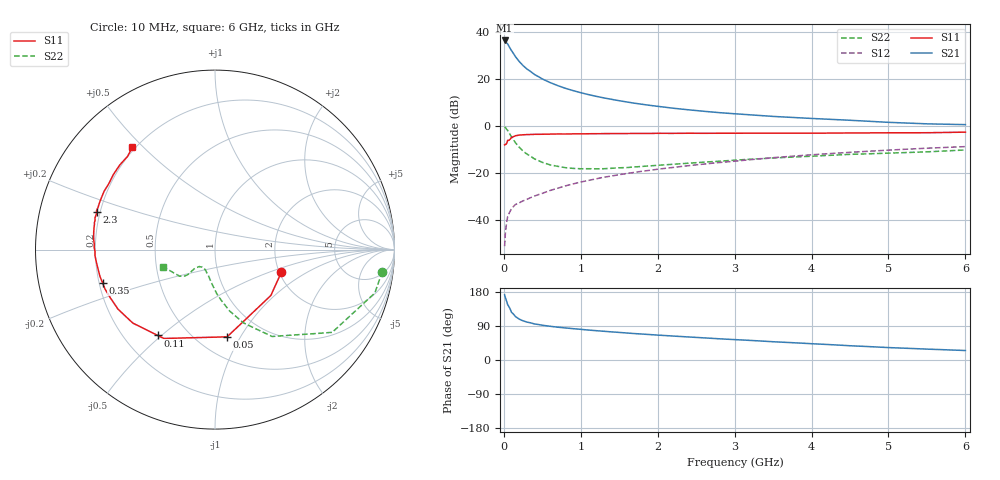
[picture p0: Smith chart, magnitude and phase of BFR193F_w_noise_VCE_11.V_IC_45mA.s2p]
! Infineon Technologies  Discrete & RF Semiconductors
! BFR193F
! VCE =  11. V,  IC =  45 mA
! Common Emitter S-Parameters:  Jan 2017
# GHz  S  MA  R  50
!  f  S11  S21  S12  S22
! GHz  MAG  ANG  MAG  ANG  MAG  ANG  MAG  ANG
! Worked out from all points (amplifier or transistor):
!   77 points, 10 MHz to 6 GHz, reference 50 ohm
!   highest |S21| = 36.4 dB at 10 MHz (marker M1)
!   |S21| within 3 dB of that: start of sweep to 75.79 MHz
!   unconditionally stable (mu >= 1): 971.4 MHz to 2.637 GHz
!   at 130 MHz: K = 0.42, MSG = 32.5 dB, |S12| = -34.3 dB
!   at 2.2 GHz: K = 1.02, MAG = 11.8 dB, |S12| = -17.8 dB
!   at 6 GHz: K = 0.84, MSG = 4.7 dB, |S12| = -8.9 dB
!   lowest NFmin = 1.41 dB at 450 MHz
!   S11 on the Smith chart (normalised r, x): 10 MHz: 2.05, -0.61; 50 MHz: 0.69, -0.88; 110 MHz: 0.34, -0.49; 350 MHz: 0.21, -0.14; 2.3 GHz: 0.19, +0.15; 6 GHz: 0.19, +0.46
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0.01  0.3906 -19.0  66.35 171.9  0.0027 71.1  0.9401 -7.5
0.02  0.4027 -39.4  64.38 164.4  0.0051 75.9  0.9228 -15.2
0.05  0.4907 -82.1  55.62 145.8  0.0116 63.7  0.7995 -35.2
0.1  0.5712 -119.9  40.24 125.7  0.017 52.5  0.5793 -56.7
0.11  0.5749 -123.7  38.11 124.0  0.0178 52.0  0.5491 -58.6
0.15  0.6143 -138.2  30.05 114.8  0.0209 50.3  0.4367 -68.9
0.2  0.6342 -148.5  23.62 107.9  0.0227 51.1  0.3507 -76.7
0.25  0.6428 -155.7  19.28 103.3  0.025 52.4  0.2874 -82.6
0.3  0.6508 -160.2  16.33 100.1  0.027 53.4  0.2496 -87.3
0.35  0.6533 -163.6  14.35 97.9  0.0294 56.0  0.2225 -90.4
0.4  0.6581 -166.9  12.4 95.1  0.0318 58.2  0.1963 -94.3
0.5  0.661 -171.1  10.01 91.8  0.0362 61.1  0.1662 -100.0
0.6  0.6652 -174.3  8.398 89.0  0.0416 63.4  0.147 -105.0
0.8  0.6688 -179.1  6.321 84.6  0.0522 67.4  0.1279 -113.9
1.1  0.6772 175.8  4.638 79.0  0.0683 70.1  0.1215 -123.1
1.5  0.684 170.5  3.435 72.8  0.0905 72.1  0.1271 -131.2
2.1  0.6907 164.3  2.49 64.5  0.1239 72.7  0.1473 -136.4
2.3  0.6922 162.5  2.285 62.0  0.1352 72.5  0.1551 -136.9
3.1  0.6954 155.9  1.763 52.8  0.1824 71.6  0.189 -136.9
4.1  0.6976 147.1  1.411 42.0  0.2468 68.3  0.2287 -139.8
5.1  0.7099 137.3  1.17 32.0  0.3086 63.2  0.2644 -150.7
6  0.7333 128.9  1.06 25.0  0.3597 58.2  0.3053 -161.9
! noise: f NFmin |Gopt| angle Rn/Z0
0.45  1.41  0.45  180  0.07
0.9  1.49  0.46  -179  0.07
1.9  2.06  0.59  -164  0.09
2.4  2.37  0.61  -156  0.14
